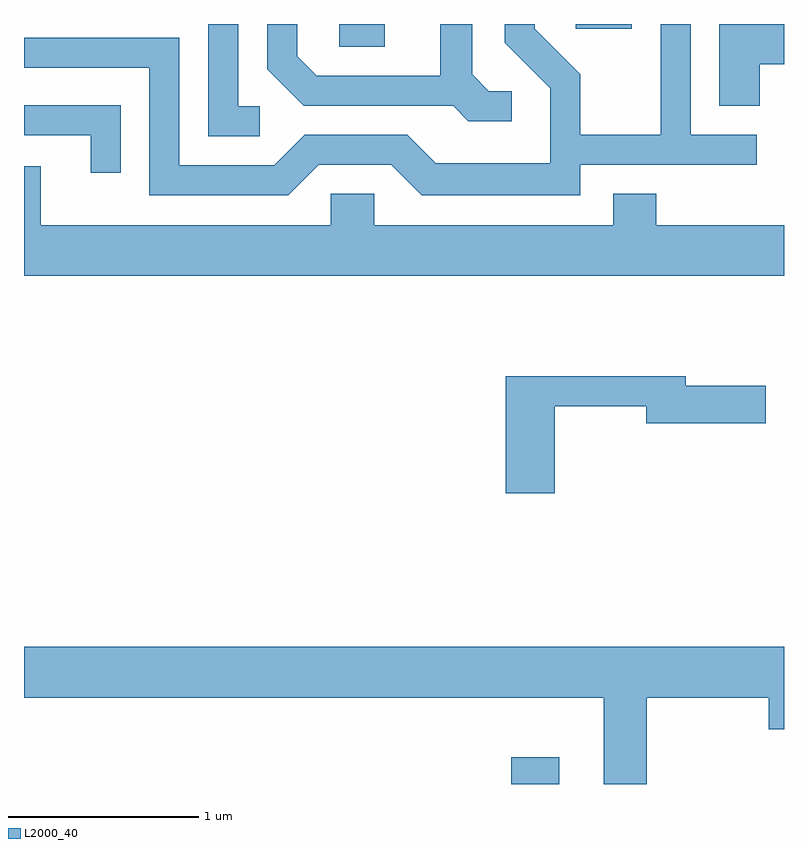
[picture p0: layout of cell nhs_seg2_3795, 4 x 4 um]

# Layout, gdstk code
import gdstk
lib = gdstk.Library(unit=1e-6, precision=1e-09)
def R(c, l, rs):  # rectangles x0, y0, x1, y1
    for r in rs: c.add(gdstk.rectangle(r[:2], r[2:], *l))
def P(c, l, *ps):  # polygons
    for p in ps: c.add(gdstk.Polygon(p, *l))
L2000_40 = (2000, 40)

nhs_seg2_3795 = lib.new_cell('nhs_seg2_3795')
R(nhs_seg2_3795, L2000_40, [(298.176,1107.802,298.429,1107.944), (297.271,1111.681,297.509,1111.802), (298.516,1111.776,298.809,1111.802)])
P(nhs_seg2_3795, L2000_40, [(299.484,1111.591),(299.611,1111.591),(299.611,1111.802),(299.271,1111.802),(299.271,1111.371),(299.484,1111.371)],
  [(298.178,1111.449),(298.057,1111.449),(297.969,1111.537),(297.969,1111.802),(297.801,1111.802),(297.801,1111.529),(297.152,1111.529),(297.049,1111.632),(297.049,1111.802),(296.891,1111.802),(296.891,1111.564),(297.084,1111.371),(297.869,1111.371),(297.949,1111.291),(298.178,1111.291)],
  [(296.853,1111.369),(296.739,1111.369),(296.739,1111.802),(296.581,1111.802),(296.581,1111.211),(296.853,1111.211)],
  [(297.162,1111.061),(297.544,1111.061),(297.704,1110.901),(298.539,1110.901),(298.539,1111.061),(299.468,1111.061),(299.468,1111.219),(299.119,1111.219),(299.119,1111.802),(298.961,1111.802),(298.961,1111.219),(298.539,1111.219),(298.539,1111.537),(298.299,1111.777),(298.299,1111.802),(298.141,1111.802),(298.141,1111.704),(298.381,1111.464),(298.381,1111.069),(297.777,1111.069),(297.627,1111.219),(297.089,1111.219),(296.929,1111.059),(296.429,1111.059),(296.429,1111.729),(295.611,1111.729),(295.611,1111.571),(296.271,1111.571),(296.271,1110.901),(297.002,1110.901)],
  [(296.119,1111.374),(295.611,1111.374),(295.611,1111.216),(295.961,1111.216),(295.961,1111.018),(296.119,1111.018)],
  [(299.611,1110.744),(298.939,1110.744),(298.939,1110.909),(298.711,1110.909),(298.711,1110.744),(297.454,1110.744),(297.454,1110.909),(297.226,1110.909),(297.226,1110.744),(295.699,1110.744),(295.699,1111.054),(295.611,1111.054),(295.611,1110.476),(299.611,1110.476)],
  [(298.404,1109.791),(298.886,1109.791),(298.886,1109.701),(299.514,1109.701),(299.514,1109.899),(299.094,1109.899),(299.094,1109.949),(298.146,1109.949),(298.146,1109.331),(298.404,1109.331)],
  [(298.889,1108.256),(299.531,1108.256),(299.531,1108.091),(299.611,1108.091),(299.611,1108.524),(295.611,1108.524),(295.611,1108.256),(298.661,1108.256),(298.661,1107.802),(298.889,1107.802)])

lib.write_gds('nhs_seg2_3795.gds')
